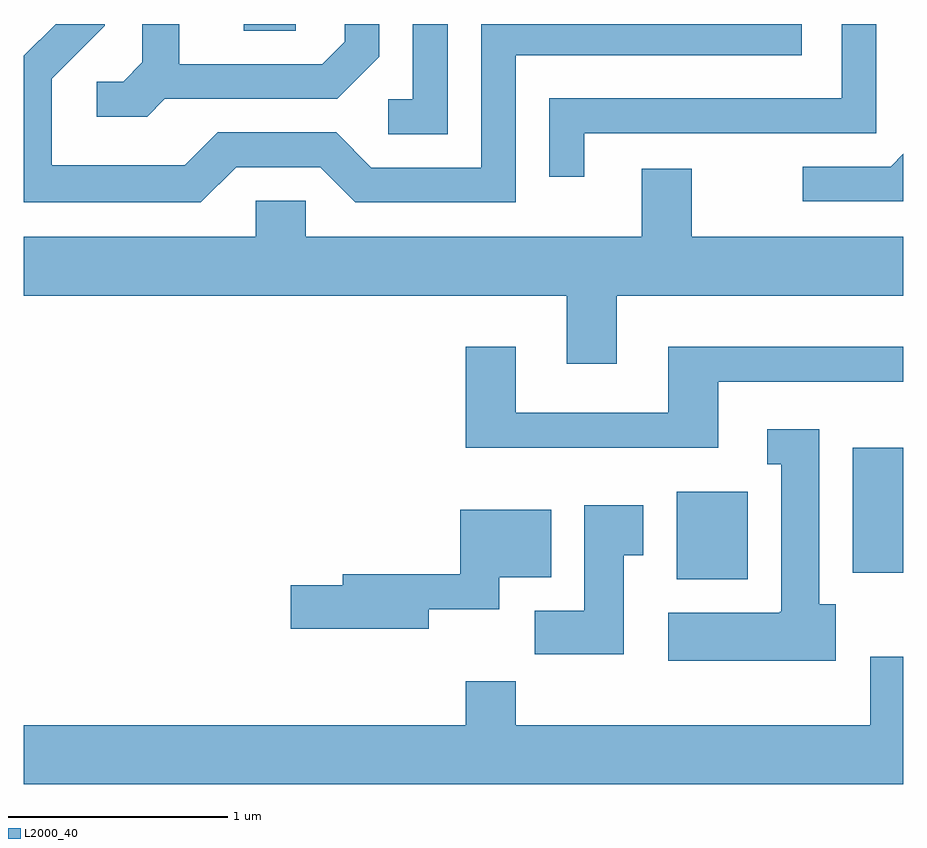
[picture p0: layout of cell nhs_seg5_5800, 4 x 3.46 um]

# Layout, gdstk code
import gdstk
lib = gdstk.Library(unit=1e-6, precision=1e-09)
def R(c, l, rs):  # rectangles x0, y0, x1, y1
    for r in rs: c.add(gdstk.rectangle(r[:2], r[2:], *l))
def P(c, l, *ps):  # polygons
    for p in ps: c.add(gdstk.Polygon(p, *l))
L2000_40 = (2000, 40)

nhs_seg5_5800 = lib.new_cell('nhs_seg5_5800')
R(nhs_seg5_5800, L2000_40, [(360.581,1415.546,360.904,1415.944), (361.381,1415.576,361.611,1416.144), (358.611,1418.041,358.849,1418.072)])
P(nhs_seg5_5800, L2000_40, [(358.252,1417.731),(359.037,1417.731),(359.229,1417.924),(359.229,1418.072),(359.071,1418.072),(359.071,1417.992),(358.969,1417.889),(358.319,1417.889),(358.319,1418.072),(358.151,1418.072),(358.151,1417.897),(358.064,1417.809),(357.943,1417.809),(357.943,1417.651),(358.172,1417.651)],
  [(359.539,1418.072),(359.381,1418.072),(359.381,1417.729),(359.268,1417.729),(359.268,1417.571),(359.539,1417.571)],
  [(360.159,1417.576),(361.489,1417.576),(361.489,1418.072),(361.331,1418.072),(361.331,1417.734),(360.001,1417.734),(360.001,1417.378),(360.159,1417.378)],
  [(358.577,1417.421),(358.959,1417.421),(359.119,1417.261),(359.849,1417.261),(359.849,1417.931),(361.149,1417.931),(361.149,1418.072),(359.691,1418.072),(359.691,1417.419),(359.192,1417.419),(359.032,1417.579),(358.494,1417.579),(358.344,1417.429),(357.739,1417.429),(357.739,1417.824),(357.979,1418.064),(357.979,1418.072),(357.756,1418.072),(357.611,1417.927),(357.611,1417.261),(358.417,1417.261)],
  [(361.611,1417.482),(361.554,1417.424),(361.153,1417.424),(361.153,1417.266),(361.611,1417.266)],
  [(360.309,1416.836),(361.611,1416.836),(361.611,1417.104),(360.649,1417.104),(360.649,1417.414),(360.421,1417.414),(360.421,1417.104),(358.894,1417.104),(358.894,1417.269),(358.666,1417.269),(358.666,1417.104),(357.611,1417.104),(357.611,1416.836),(360.081,1416.836),(360.081,1416.526),(360.309,1416.526)],
  [(360.769,1416.446),(361.611,1416.446),(361.611,1416.604),(360.541,1416.604),(360.541,1416.304),(359.849,1416.304),(359.849,1416.604),(359.621,1416.604),(359.621,1416.146),(360.769,1416.146)],
  [(361.304,1415.434),(361.229,1415.434),(361.229,1416.229),(360.993,1416.229),(360.993,1416.071),(361.056,1416.071),(361.056,1415.4),(361.05,1415.4),(361.05,1415.394),(360.541,1415.394),(360.541,1415.176),(361.304,1415.176)],
  [(360.339,1415.656),(360.429,1415.656),(360.429,1415.884),(360.161,1415.884),(360.161,1415.404),(359.936,1415.404),(359.936,1415.206),(360.339,1415.206)],
  [(359.454,1415.411),(359.774,1415.411),(359.774,1415.556),(360.009,1415.556),(360.009,1415.864),(359.596,1415.864),(359.596,1415.569),(359.061,1415.569),(359.061,1415.519),(358.826,1415.519),(358.826,1415.321),(359.454,1415.321)],
  [(361.611,1415.194),(361.461,1415.194),(361.461,1414.884),(359.849,1414.884),(359.849,1415.084),(359.621,1415.084),(359.621,1414.884),(357.611,1414.884),(357.611,1414.616),(361.611,1414.616)])

lib.write_gds('nhs_seg5_5800.gds')
